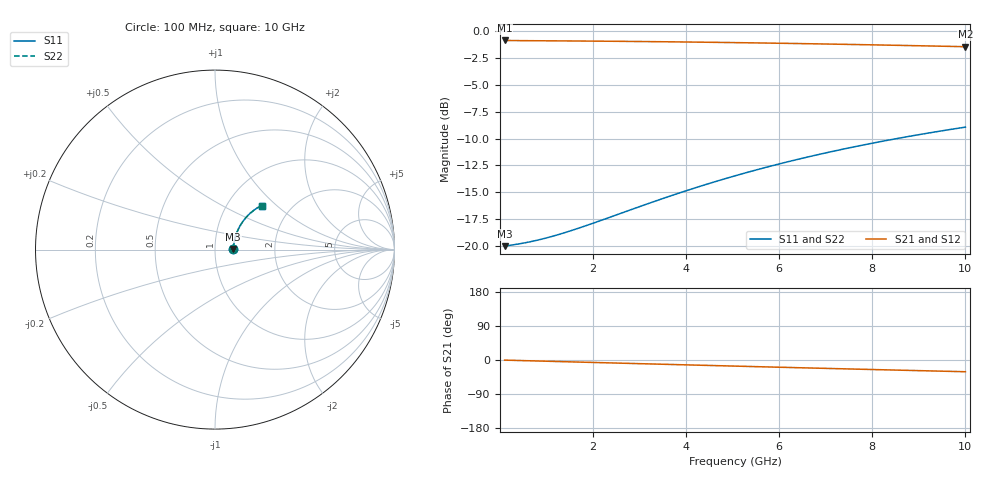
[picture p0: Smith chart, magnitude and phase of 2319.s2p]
# Hz S RI R 50.00
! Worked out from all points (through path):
!   100 points, 100 MHz to 10 GHz, reference 50 ohm
!   highest |S21| = -0.92 dB at 100 MHz (marker M1); lowest = -1.5 dB at 10 GHz (marker M2)
!   group delay of S21, straight-line fit = 8.62 ps
!   lowest |S11| = -20.0 dB at 100 MHz (marker M3), VSWR 1.22, Z = 61.1 + j0.398 ohm
!   |S11| at or under -10 dB: start of sweep to 8.535 GHz
!   |S22| runs from -20.0 to -8.9 dB; largest |S21 - S12| = 0
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1e8  0.1003 0.00323  0.8997 -0.00509  0.8997 -0.00509  0.1003 0.00323
5e8  0.1024 0.016  0.8976 -0.0254  0.8976 -0.0254  0.1024 0.016
7e8  0.1033 0.0224  0.8966 -0.0355  0.8966 -0.0355  0.1033 0.0224
9e8  0.1043 0.0288  0.8956 -0.0455  0.8956 -0.0455  0.1043 0.0288
1.1e9  0.1053 0.0351  0.8944 -0.0556  0.8944 -0.0556  0.1053 0.0351
1.3e9  0.1065 0.0414  0.8932 -0.0656  0.8932 -0.0656  0.1065 0.0414
1.8e9  0.1099 0.0569  0.8894 -0.0905  0.8894 -0.0905  0.1099 0.0569
2.6e9  0.117 0.0813  0.8817 -0.1298  0.8817 -0.1298  0.117 0.0813
3.4e9  0.126 0.1048  0.8718 -0.1683  0.8718 -0.1683  0.126 0.1048
3.9e9  0.1326 0.119  0.8645 -0.1918  0.8645 -0.1918  0.1326 0.119
4.3e9  0.1384 0.13  0.8581 -0.2103  0.8581 -0.2103  0.1384 0.13
4.7e9  0.1447 0.1407  0.8512 -0.2285  0.8512 -0.2285  0.1447 0.1407
5.1e9  0.1514 0.1511  0.8438 -0.2463  0.8438 -0.2463  0.1514 0.1511
5.5e9  0.1585 0.1611  0.8359 -0.2638  0.8359 -0.2638  0.1585 0.1611
5.9e9  0.166 0.1707  0.8276 -0.281  0.8276 -0.281  0.166 0.1707
6.3e9  0.1738 0.18  0.8188 -0.2977  0.8188 -0.2977  0.1738 0.18
6.7e9  0.182 0.1888  0.8097 -0.3141  0.8097 -0.3141  0.182 0.1888
7.5e9  0.1993 0.2053  0.7903 -0.3456  0.7903 -0.3456  0.1993 0.2053
7.9e9  0.2084 0.2128  0.78 -0.3607  0.78 -0.3607  0.2084 0.2128
8.4e9  0.2201 0.2217  0.7668 -0.379  0.7668 -0.379  0.2201 0.2217
9.2e9  0.2394 0.2344  0.7448 -0.4069  0.7448 -0.4069  0.2394 0.2344
1e10  0.2595 0.2452  0.7219 -0.4329  0.7219 -0.4329  0.2595 0.2452
